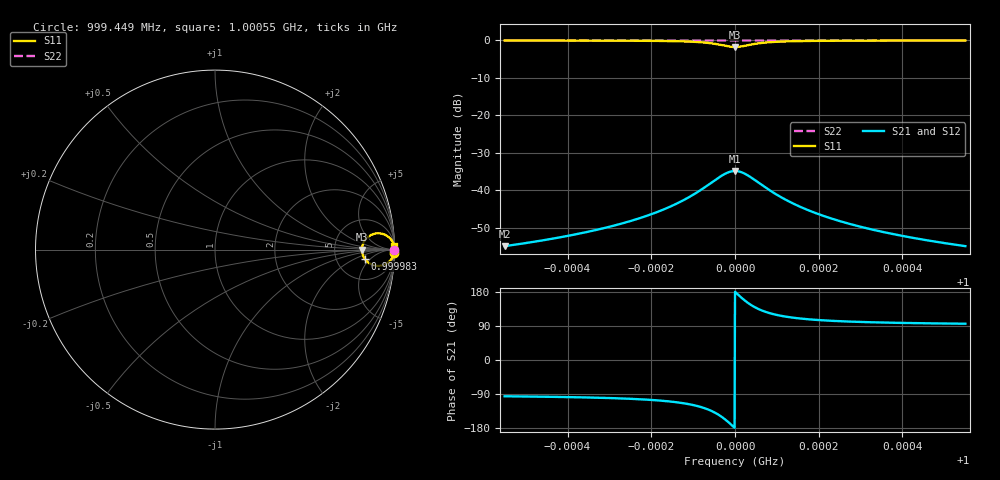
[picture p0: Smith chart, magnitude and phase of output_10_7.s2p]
! File generated for n1 = 10, n2 = 7
! b1 = 0.100000
! b2 = 0.001000
! Q0 = 10000.000000
! f0 = 1000000000.000000
! n = 1001
! rel_span = 10.000000
# Hz S RI R 50
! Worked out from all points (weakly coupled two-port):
!   1001 points, 999.449 MHz to 1.00055 GHz, reference 50 ohm
!   highest |S21| = -34.82 dB at 1 GHz (marker M1); lowest = -54.9 dB at 999.449 MHz (marker M2)
!   lowest |S11| = -1.7 dB at 1 GHz (marker M3), VSWR 10.01, Z = 501 + j0 ohm
!   |S11| at or under -10 dB: nowhere
!   |S22| runs from 0.0 to 0.0 dB; largest |S21 - S12| = 0
!   S11 on the Smith chart (normalised r, x): 999.449 MHz: open; 999.983 MHz: 10, -3; 1.00055 GHz: open
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9.994495e8  0.9982 -0.018  -0.00018 -0.0018  -0.00018 -0.0018  1 -0.00018
9.995442e8  0.9974 -0.0216  -0.000261 -0.00216  -0.000261 -0.00216  1 -0.000216
9.996334e8  0.996 -0.0267  -0.0004 -0.00267  -0.0004 -0.00267  1 -0.000267
9.997347e8  0.9925 -0.0361  -0.000749 -0.00361  -0.000749 -0.00361  0.9999 -0.000361
9.998172e8  0.9849 -0.0502  -0.00151 -0.00502  -0.00151 -0.00502  0.9998 -0.000502
9.998701e8  0.9724 -0.0653  -0.00276 -0.00653  -0.00276 -0.00653  0.9997 -0.000653
9.999163e8  0.9451 -0.0834  -0.00549 -0.00834  -0.00549 -0.00834  0.9995 -0.000834
9.999571e8  0.8871 -0.0881  -0.0113 -0.00881  -0.0113 -0.00881  0.9989 -0.000881
9.999703e8  0.8594 -0.0759  -0.0141 -0.00759  -0.0141 -0.00759  0.9986 -0.000759
9.999835e8  0.8333 -0.05  -0.0167 -0.005  -0.0167 -0.005  0.9983 -0.0005
1e9  0.8183 0  -0.0182 0  -0.0182 0  0.9982 0
1.00001e9  0.824 0.0317  -0.0176 0.00317  -0.0176 0.00317  0.9982 0.000317
1.000021e9  0.8413 0.0603  -0.0159 0.00603  -0.0159 0.00603  0.9984 0.000603
1.000048e9  0.8976 0.0901  -0.0102 0.00901  -0.0102 0.00901  0.999 0.000901
1.000078e9  0.9398 0.0855  -0.00602 0.00855  -0.00602 0.00855  0.9994 0.000855
1.000115e9  0.9659 0.0709  -0.00341 0.00709  -0.00341 0.00709  0.9997 0.000709
1.000148e9  0.9778 0.0595  -0.00222 0.00595  -0.00222 0.00595  0.9998 0.000595
1.000184e9  0.9851 0.0499  -0.00149 0.00499  -0.00149 0.00499  0.9999 0.000499
1.000266e9  0.9926 0.036  -0.000744 0.0036  -0.000744 0.0036  0.9999 0.00036
1.000368e9  0.996 0.0266  -0.000398 0.00266  -0.000398 0.00266  1 0.000266
1.000457e9  0.9974 0.0216  -0.00026 0.00216  -0.00026 0.00216  1 0.000216
1.00055e9  0.9982 0.018  -0.00018 0.0018  -0.00018 0.0018  1 0.00018
